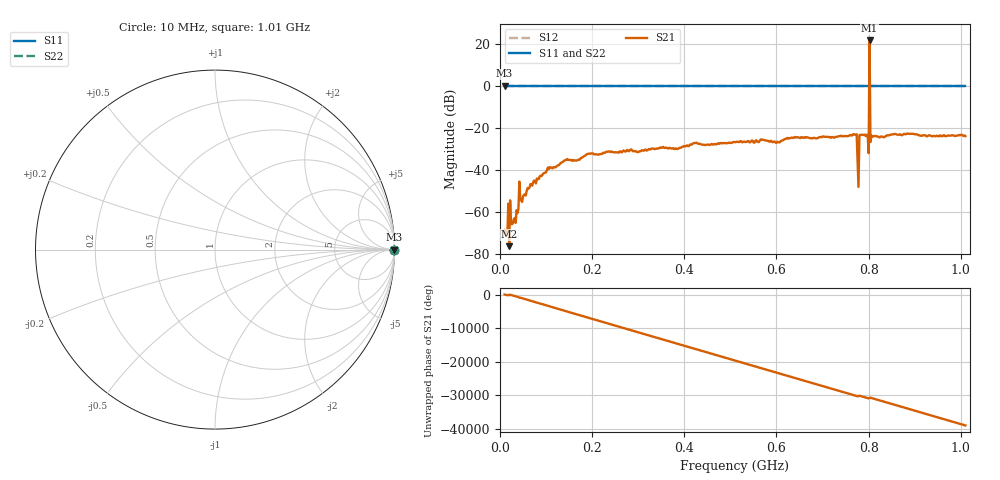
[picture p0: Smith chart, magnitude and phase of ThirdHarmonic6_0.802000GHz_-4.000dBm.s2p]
! 8/16/2025 2:43:50 AM
! C:\ANRITSUVNA\TEMP\TEMP.S2P
! CHANNEL.1
! TR.MEASUREMENT
! RAW.DATA
! RF.CORRECTION.OFF
! AVERAGING.OFF
! IF.BANDWIDTH: 5KHZ
! SWEEPTYPE:  FREQ.SWEEP(Linear)
! Reference Plane Port Info
! PORT:  PORT1  PORT2
! DISTANCE:  0  m  0  m
! TIME:  0  s  0  s
! PHASE.OFFSET:  0  deg.  0  deg.
! LOSS:  0  dB  0  dB
! REF.LOSS:  0  dB  0  dB
! REF.FREQ:  0  Hz  0  Hz
! Power Info
! POWER:  -20  dBm  -20  dBm
! EFF.POWER:  -20  dBm  -20  dBm
! SOURCE.ATTEN:  0  dB  0  dB
! TEST.ATTEN:  0  dB  0  dB
# GHZ S RI R 50.0
! FREQ.GHZ  S11RE  S11IM  S21RE  S21IM  S12RE  S12IM  S22RE  S22IM
!; PortSelection: Port_12
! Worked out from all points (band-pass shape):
!   501 points, 10 MHz to 1.01 GHz, reference 50 ohm
!   highest |S21| = 21.60 dB at 802 MHz (marker M1); lowest = -76.5 dB at 20 MHz (marker M2)
!   |S21| within 3 dB of the highest: 801.8884 MHz to 802.1239 MHz (235.5 kHz wide, 0.0294 % of centre)
!   lowest |S11| = 0.0 dB at 10 MHz (marker M3)
!   |S11| at or under -10 dB: nowhere
!   |S22| runs from 0.0 to 0.0 dB; largest |S21 - S12| = 12
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0.01  1 0  -2e-07 0.000361  1 0  1 0
0.016  1 0  0.000118 -0.000252  1 0  1 0
0.02  1 0  -1.98e-05 -0.000149  1 0  1 0
0.03  1 0  3.68e-05 0.000663  1 0  1 0
0.046  1 0  -0.00164 0.000812  1 0  1 0
0.048  1 0  0.000663 0.00157  1 0  1 0
0.106  1 0  -0.00754 -0.007  1 0  1 0
0.178  1 0  -0.0189 -0.00454  1 0  1 0
0.344  1 0  0.0315 -0.0058  1 0  1 0
0.51  1 0  -0.0426 0.0147  1 0  1 0
0.678  1 0  -0.0237 -0.0503  1 0  1 0
0.77  1 0  -0.0515 0.0452  1 0  1 0
0.774  1 0  0.0648 -0.0259  1 0  1 0
0.78  1 0  -0.00566 0.067  1 0  1 0
0.784  1 0  0.0279 -0.0617  1 0  1 0
0.796  1 0  -0.0668 0.0101  1 0  1 0
0.798  1 0  0.00194 0.0671  1 0  1 0
0.802  1 0  -2.964 11.65  1 0  1 0
0.806  1 0  -0.0354 0.0539  1 0  1 0
0.808  1 0  0.0433 0.0437  1 0  1 0
0.844  1 0  0.0467 0.0464  1 0  1 0
1.01  1 0  -0.0604 -0.0175  1 0  1 0
